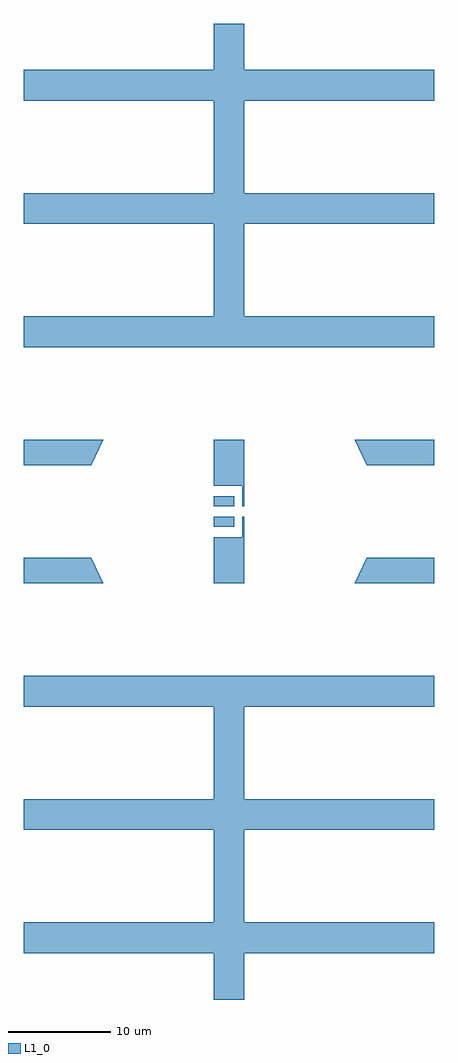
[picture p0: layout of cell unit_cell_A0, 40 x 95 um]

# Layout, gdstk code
from math import pi, radians
import gdstk
lib = gdstk.Library(unit=1e-6, precision=1e-09)
def R(c, l, rs):  # rectangles x0, y0, x1, y1
    for r in rs: c.add(gdstk.rectangle(r[:2], r[2:], *l))
def P(c, l, *ps):  # polygons
    for p in ps: c.add(gdstk.Polygon(p, *l))
L1_0 = (1, 0)

unnamed_2379 = lib.new_cell('Unnamed_2379')
R(unnamed_2379, L1_0, [(18.5,40.5,20,45)])
P(unnamed_2379, L1_0, [(18.5,0),(18.5,4.5),(0,4.5),(0,7.5),(18.5,7.5),(18.5,16.5),(0,16.5),(0,19.5),(18.5,19.5),(18.5,28.5),(0,28.5),(0,31.5),(20,31.5),(20,0)],
  [(0,40.5),(0,43),(6.597,43),(7.773,40.5)])

unnamed_2380 = lib.new_cell('Unnamed_2380')
unnamed_2380.add(gdstk.Reference(unnamed_2379, (0,0)))

rectangle_s2_1_lwg_cfal_ = lib.new_cell('rectangle_S2_1_LWG_CFal_a0a9c26d')
R(rectangle_s2_1_lwg_cfal_, L1_0, [(0,0,2,1)])

rectangle_s0p2_2_lwg_cf_ = lib.new_cell('rectangle_S0p2_2_LWG_CF_9ef6d549')
R(rectangle_s0p2_2_lwg_cf_, L1_0, [(0,0,0.2,2)])

unnamed_2381 = lib.new_cell('Unnamed_2381')
unnamed_2381.add(gdstk.Reference(rectangle_s2_1_lwg_cfal_, (0,-1.5)))
unnamed_2381.add(gdstk.Reference(rectangle_s0p2_2_lwg_cf_, (2.8,-2.5)))

unit_cell_a0 = lib.new_cell('unit_cell_A0')
unit_cell_a0.add(gdstk.Reference(unnamed_2380, (0,0)))
unit_cell_a0.add(gdstk.Reference(unnamed_2380, (40,0), rotation=pi, x_reflection=True))
unit_cell_a0.add(gdstk.Reference(unnamed_2380, (0,95), x_reflection=True))
unit_cell_a0.add(gdstk.Reference(unnamed_2380, (40,95), rotation=pi))
unit_cell_a0.add(gdstk.Reference(unnamed_2381, (18.5,47.5)))
unit_cell_a0.add(gdstk.Reference(unnamed_2381, (18.5,47.5), x_reflection=True))

lib.write_gds('unit_cell_A0.gds')
